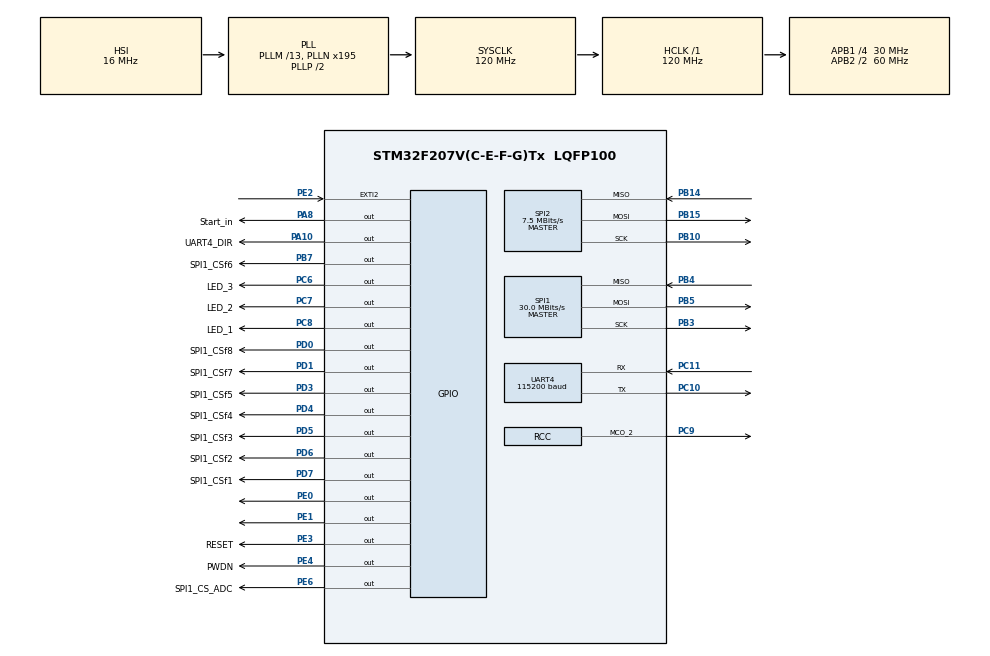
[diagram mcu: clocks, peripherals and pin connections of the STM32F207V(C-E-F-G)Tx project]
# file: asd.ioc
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Dma.Request0=SPI2_RX
Dma.Request1=SPI2_TX
Dma.Request2=SPI1_RX
Dma.Request3=SPI1_TX
Dma.SPI1_RX.2.Direction=DMA_PERIPH_TO_MEMORY
Dma.SPI1_RX.2.FIFOMode=DMA_FIFOMODE_DISABLE
Dma.SPI1_RX.2.Instance=DMA2_Stream0
Dma.SPI1_RX.2.MemDataAlignment=DMA_MDATAALIGN_BYTE
Dma.SPI1_RX.2.MemInc=DMA_MINC_ENABLE
Dma.SPI1_RX.2.Mode=DMA_NORMAL
Dma.SPI1_RX.2.PeriphDataAlignment=DMA_PDATAALIGN_BYTE
Dma.SPI1_RX.2.PeriphInc=DMA_PINC_DISABLE
Dma.SPI1_RX.2.Priority=DMA_PRIORITY_HIGH
Dma.SPI1_TX.3.Direction=DMA_MEMORY_TO_PERIPH
Dma.SPI1_TX.3.FIFOMode=DMA_FIFOMODE_DISABLE
Dma.SPI1_TX.3.Instance=DMA2_Stream3
Dma.SPI1_TX.3.MemDataAlignment=DMA_MDATAALIGN_BYTE
Dma.SPI1_TX.3.MemInc=DMA_MINC_ENABLE
Dma.SPI1_TX.3.Mode=DMA_NORMAL
Dma.SPI1_TX.3.PeriphDataAlignment=DMA_PDATAALIGN_BYTE
Dma.SPI1_TX.3.PeriphInc=DMA_PINC_DISABLE
Dma.SPI1_TX.3.Priority=DMA_PRIORITY_HIGH
Dma.SPI2_RX.0.Direction=DMA_PERIPH_TO_MEMORY
Dma.SPI2_RX.0.FIFOMode=DMA_FIFOMODE_DISABLE
Dma.SPI2_RX.0.Instance=DMA1_Stream3
Dma.SPI2_RX.0.MemDataAlignment=DMA_MDATAALIGN_BYTE
Dma.SPI2_RX.0.MemInc=DMA_MINC_ENABLE
Dma.SPI2_RX.0.Mode=DMA_NORMAL
Dma.SPI2_RX.0.PeriphDataAlignment=DMA_PDATAALIGN_BYTE
Dma.SPI2_RX.0.PeriphInc=DMA_PINC_DISABLE
Dma.SPI2_RX.0.Priority=DMA_PRIORITY_LOW
Dma.SPI2_TX.1.Direction=DMA_MEMORY_TO_PERIPH
Dma.SPI2_TX.1.FIFOMode=DMA_FIFOMODE_DISABLE
Dma.SPI2_TX.1.Instance=DMA1_Stream4
Dma.SPI2_TX.1.MemDataAlignment=DMA_MDATAALIGN_BYTE
Dma.SPI2_TX.1.MemInc=DMA_MINC_ENABLE
Dma.SPI2_TX.1.Mode=DMA_NORMAL
Dma.SPI2_TX.1.PeriphDataAlignment=DMA_PDATAALIGN_BYTE
Dma.SPI2_TX.1.PeriphInc=DMA_PINC_DISABLE
Dma.SPI2_TX.1.Priority=DMA_PRIORITY_LOW
Mcu.Family=STM32F2
Mcu.Name=STM32F207V(C-E-F-G)Tx
Mcu.Package=LQFP100
NVIC.DMA1_Stream3_IRQn=true\:0\:0\:false\:false\:true\:false\:true\:true
NVIC.DMA1_Stream4_IRQn=true\:0\:0\:false\:false\:true\:false\:true\:true
NVIC.DMA2_Stream0_IRQn=true\:0\:0\:false\:false\:true\:false\:true\:true
NVIC.DMA2_Stream3_IRQn=true\:0\:0\:false\:false\:true\:false\:true\:true
NVIC.EXTI2_IRQn=true\:0\:0\:false\:true\:true\:1\:true\:true\:true
NVIC.PriorityGroup=NVIC_PRIORITYGROUP_4
NVIC.UART4_IRQn=true\:0\:0\:false\:false\:true\:true\:true\:true
PA10.GPIO_Label=UART4_DIR
PA10.Signal=GPIO_Output
PA8.GPIO_Label=Start_in
PA8.Signal=GPIO_Output
PB10.Mode=Full_Duplex_Master
PB10.Signal=SPI2_SCK
PB14.Mode=Full_Duplex_Master
PB14.Signal=SPI2_MISO
PB15.Mode=Full_Duplex_Master
PB15.Signal=SPI2_MOSI
PB3.Mode=Full_Duplex_Master
PB3.Signal=SPI1_SCK
PB4.Mode=Full_Duplex_Master
PB4.Signal=SPI1_MISO
PB5.Mode=Full_Duplex_Master
PB5.Signal=SPI1_MOSI
PB7.GPIO_Label=SPI1_CSf6
PB7.Signal=GPIO_Output
PC10.Mode=Asynchronous
PC10.Signal=UART4_TX
PC11.Mode=Asynchronous
PC11.Signal=UART4_RX
PC6.GPIO_Label=LED_3
PC6.Signal=GPIO_Output
PC7.GPIO_Label=LED_2
PC7.Signal=GPIO_Output
PC8.GPIO_Label=LED_1
PC8.Signal=GPIO_Output
PC9.GPIO_Speed=GPIO_SPEED_FREQ_VERY_HIGH
PC9.Mode=Clock-out-2
PC9.Signal=RCC_MCO_2
PD0.GPIO_Label=SPI1_CSf8
PD0.Signal=GPIO_Output
PD1.GPIO_Label=SPI1_CSf7
PD1.Signal=GPIO_Output
PD3.GPIO_Label=SPI1_CSf5
PD3.Signal=GPIO_Output
PD4.GPIO_Label=SPI1_CSf4
PD4.Signal=GPIO_Output
PD5.GPIO_Label=SPI1_CSf3
PD5.Signal=GPIO_Output
PD6.GPIO_Label=SPI1_CSf2
PD6.Signal=GPIO_Output
PD7.GPIO_Label=SPI1_CSf1
PD7.PinState=GPIO_PIN_SET
PD7.Signal=GPIO_Output
PE0.PinState=GPIO_PIN_SET
PE0.Signal=GPIO_Output
PE1.PinState=GPIO_PIN_SET
PE1.Signal=GPIO_Output
PE2.GPIO_ModeDefaultEXTI=GPIO_MODE_IT_FALLING
PE2.Signal=GPXTI2
PE3.GPIO_Label=RESET
PE3.PinState=GPIO_PIN_SET
PE3.Signal=GPIO_Output
PE4.GPIO_Label=PWDN
PE4.PinState=GPIO_PIN_SET
PE4.Signal=GPIO_Output
PE6.GPIO_Label=SPI1_CS_ADC
PE6.PinState=GPIO_PIN_RESET
PE6.Signal=GPIO_Output
PH0-OSC_IN.Mode=HSE-External-Oscillator
PH0-OSC_IN.Signal=RCC_OSC_IN
PH1-OSC_OUT.Mode=HSE-External-Oscillator
PH1-OSC_OUT.Signal=RCC_OSC_OUT
ProjectManager.HeapSize=0x200
ProjectManager.StackSize=0x400
ProjectManager.TargetToolchain=EWARM V8.32
RCC.48MHZClocksFreq_Value=60000000
RCC.AHBFreq_Value=120000000
RCC.APB1CLKDivider=RCC_HCLK_DIV4
RCC.APB1Freq_Value=30000000
RCC.APB1TimFreq_Value=60000000
RCC.APB2CLKDivider=RCC_HCLK_DIV2
RCC.APB2Freq_Value=60000000
RCC.APB2TimFreq_Value=120000000
RCC.CortexFreq_Value=120000000
RCC.HCLKFreq_Value=120000000
RCC.HSE_VALUE=8000000
RCC.HSI_VALUE=16000000
RCC.LSE_VALUE=32768
RCC.PLLM=13
RCC.PLLN=195
RCC.RCC_MCODiv2=RCC_MCODIV_5
RCC.SYSCLKFreq_VALUE=120000000
RCC.SYSCLKSource=RCC_SYSCLKSOURCE_PLLCLK
RCC.VCOOutputFreq_Value=240000000
SPI1.CalculateBaudRate=30.0 MBits/s
SPI1.Direction=SPI_DIRECTION_2LINES
SPI1.Mode=SPI_MODE_MASTER
SPI1.VirtualType=VM_MASTER
SPI2.BaudRatePrescaler=SPI_BAUDRATEPRESCALER_4
SPI2.CalculateBaudRate=7.5 MBits/s
SPI2.Direction=SPI_DIRECTION_2LINES
SPI2.Mode=SPI_MODE_MASTER
SPI2.VirtualType=VM_MASTER
UART4.BaudRate=115200
UART4.VirtualMode=Asynchronous
board=custom

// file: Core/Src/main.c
/* USER CODE BEGIN Header */
/**
  ******************************************************************************
  * @file           : main.c
  * @brief          : Main program body
  ******************************************************************************
  * @attention
  *
  * Copyright (c) 2025 STMicroelectronics.
  * All rights reserved.
  *
  * This software is licensed under terms that can be found in the LICENSE file
  * in the root directory of this software component.
  * If no LICENSE file comes with this software, it is provided AS-IS.
  *
  ******************************************************************************
  */
/* USER CODE END Header */
#include "main.h"

/* USER CODE BEGIN Includes */
#include "ADC.h"
#include "ModbusRTU_Slave.h"
#include "flash.h"
/* USER CODE END Includes */

SPI_HandleTypeDef hspi1;
SPI_HandleTypeDef hspi2;
DMA_HandleTypeDef hdma_spi1_rx;
DMA_HandleTypeDef hdma_spi1_tx;
DMA_HandleTypeDef hdma_spi2_rx;
DMA_HandleTypeDef hdma_spi2_tx;

UART_HandleTypeDef huart4;

void SystemClock_Config(void);
static void MX_GPIO_Init(void);
static void MX_DMA_Init(void);
static void MX_UART4_Init(void);
static void MX_SPI2_Init(void);
static void MX_SPI1_Init(void);
static void MX_NVIC_Init(void);

/* USER CODE BEGIN 0 */
// ��� ���(

    extern uint8_t Code_ADC[256];
    extern uint8_t ADC_rx_data[19];

    uint32_t schet = 0;
    uint8_t experement = 0;
    uint8_t chip = 0;
    float ch1_voltage = 0;
    uint8_t adc_data_ready = 0;
    uint32_t SPI1_CR1 = 0;
    int8_t ADC_data[256] = {0};
    int8_t ADC_data2[256] = {0};
    uint32_t cikl = 0;

// ��� ���)
/* USER CODE END 0 */

int main(void)
{

  /* MCU Configuration--------------------------------------------------------*/

  /* Reset of all peripherals, Initializes the Flash interface and the Systick. */
  HAL_Init();

  /* Configure the system clock */
  SystemClock_Config();

  /* Initialize all configured peripherals */
  MX_GPIO_Init();
  MX_DMA_Init();
  MX_UART4_Init();
  MX_SPI2_Init();
  MX_SPI1_Init();

  /* Initialize interrupts */
  MX_NVIC_Init();
  /* USER CODE BEGIN 2 */

  ADS131E0_RESET();
  memset(Code_ADC, 0, sizeof(Code_ADC));
  schet = 0;

  // Инициализация Modbus
    DataCounter = 0;
    RxInterruptFlag = RESET;
    uartTimeCounter = 0;
    uartPacketComplatedFlag = RESET;
    HAL_UART_Receive_IT(&huart4, &uartRxData, 1);  // Включаем прерывание по приему

  /* USER CODE END 2 */

  /* Infinite loop */
  /* USER CODE BEGIN WHILE */
  while (1)
  {
    SPI1_CR1 = SPI1 -> CR1;

    if (experement == 1){
        ADC_START_ON
        experement = 0;
    }
        if (experement == 2){
        memset(ADC_data, 0, sizeof(ADC_data));
        cikl = 0;
        experement = 0;
    }

    uartDataHandler();  // Обработка полученных данных
    /* USER CODE END WHILE */

  }
}

void SystemClock_Config(void)
{
  RCC_OscInitTypeDef RCC_OscInitStruct = {0};
  RCC_ClkInitTypeDef RCC_ClkInitStruct = {0};

  /** Initializes the RCC Oscillators according to the specified parameters
  * in the RCC_OscInitTypeDef structure.
  */
  RCC_OscInitStruct.OscillatorType = RCC_OSCILLATORTYPE_HSI;
  RCC_OscInitStruct.HSIState = RCC_HSI_ON;
  RCC_OscInitStruct.HSICalibrationValue = RCC_HSICALIBRATION_DEFAULT;
  RCC_OscInitStruct.PLL.PLLState = RCC_PLL_ON;
  RCC_OscInitStruct.PLL.PLLSource = RCC_PLLSOURCE_HSI;
  RCC_OscInitStruct.PLL.PLLM = 13;
  RCC_OscInitStruct.PLL.PLLN = 195;
  RCC_OscInitStruct.PLL.PLLP = RCC_PLLP_DIV2;
  RCC_OscInitStruct.PLL.PLLQ = 4;
  if (HAL_RCC_OscConfig(&RCC_OscInitStruct) != HAL_OK)
  {
    Error_Handler();
  }

  /** Initializes the CPU, AHB and APB buses clocks
  */
  RCC_ClkInitStruct.ClockType = RCC_CLOCKTYPE_HCLK|RCC_CLOCKTYPE_SYSCLK
                              |RCC_CLOCKTYPE_PCLK1|RCC_CLOCKTYPE_PCLK2;
  RCC_ClkInitStruct.SYSCLKSource = RCC_SYSCLKSOURCE_PLLCLK;
  RCC_ClkInitStruct.AHBCLKDivider = RCC_SYSCLK_DIV1;
  RCC_ClkInitStruct.APB1CLKDivider = RCC_HCLK_DIV4;
  RCC_ClkInitStruct.APB2CLKDivider = RCC_HCLK_DIV2;

  if (HAL_RCC_ClockConfig(&RCC_ClkInitStruct, FLASH_LATENCY_3) != HAL_OK)
  {
    Error_Handler();
  }
  HAL_RCC_MCOConfig(RCC_MCO2, RCC_MCO2SOURCE_SYSCLK, RCC_MCODIV_5);
}

/**
  * @brief NVIC Configuration.
  * @retval None
  */
static void MX_NVIC_Init(void)
{
  /* EXTI2_IRQn interrupt configuration */
  HAL_NVIC_SetPriority(EXTI2_IRQn, 0, 0);
  HAL_NVIC_EnableIRQ(EXTI2_IRQn);
}

static void MX_SPI1_Init(void)
{

  /* SPI1 parameter configuration*/
  hspi1.Instance = SPI1;
  hspi1.Init.Mode = SPI_MODE_MASTER;
  hspi1.Init.Direction = SPI_DIRECTION_2LINES;
  hspi1.Init.DataSize = SPI_DATASIZE_8BIT;
  hspi1.Init.CLKPolarity = SPI_POLARITY_LOW;
  hspi1.Init.CLKPhase = SPI_PHASE_2EDGE;
  hspi1.Init.NSS = SPI_NSS_SOFT;
  hspi1.Init.BaudRatePrescaler = SPI_BAUDRATEPRESCALER_8;
  hspi1.Init.FirstBit = SPI_FIRSTBIT_MSB;
  hspi1.Init.TIMode = SPI_TIMODE_DISABLE;
  hspi1.Init.CRCCalculation = SPI_CRCCALCULATION_DISABLE;
  hspi1.Init.CRCPolynomial = 10;
  if (HAL_SPI_Init(&hspi1) != HAL_OK)
  {
    Error_Handler();
  }

}

static void MX_SPI2_Init(void)
{

  /* SPI2 parameter configuration*/
  hspi2.Instance = SPI2;
  hspi2.Init.Mode = SPI_MODE_MASTER;
  hspi2.Init.Direction = SPI_DIRECTION_2LINES;
  hspi2.Init.DataSize = SPI_DATASIZE_8BIT;
  hspi2.Init.CLKPolarity = SPI_POLARITY_LOW;
  hspi2.Init.CLKPhase = SPI_PHASE_1EDGE;
  hspi2.Init.NSS = SPI_NSS_SOFT;
  hspi2.Init.BaudRatePrescaler = SPI_BAUDRATEPRESCALER_4;
  hspi2.Init.FirstBit = SPI_FIRSTBIT_MSB;
  hspi2.Init.TIMode = SPI_TIMODE_DISABLE;
  hspi2.Init.CRCCalculation = SPI_CRCCALCULATION_DISABLE;
  hspi2.Init.CRCPolynomial = 10;
  if (HAL_SPI_Init(&hspi2) != HAL_OK)
  {
    Error_Handler();
  }

}

static void MX_UART4_Init(void)
{

  huart4.Instance = UART4;
  huart4.Init.BaudRate = 115200;
  huart4.Init.WordLength = UART_WORDLENGTH_8B;
  huart4.Init.StopBits = UART_STOPBITS_1;
  huart4.Init.Parity = UART_PARITY_NONE;
  huart4.Init.Mode = UART_MODE_TX_RX;
  huart4.Init.HwFlowCtl = UART_HWCONTROL_NONE;
  huart4.Init.OverSampling = UART_OVERSAMPLING_16;
  if (HAL_UART_Init(&huart4) != HAL_OK)
  {
    Error_Handler();
  }

}

static void MX_DMA_Init(void)
{

  /* DMA controller clock enable */
  __HAL_RCC_DMA1_CLK_ENABLE();
  __HAL_RCC_DMA2_CLK_ENABLE();

  /* DMA interrupt init */
  /* DMA1_Stream3_IRQn interrupt configuration */
  HAL_NVIC_SetPriority(DMA1_Stream3_IRQn, 0, 0);
  HAL_NVIC_EnableIRQ(DMA1_Stream3_IRQn);
  /* DMA1_Stream4_IRQn interrupt configuration */
  HAL_NVIC_SetPriority(DMA1_Stream4_IRQn, 0, 0);
  HAL_NVIC_EnableIRQ(DMA1_Stream4_IRQn);
  /* DMA2_Stream0_IRQn interrupt configuration */
  HAL_NVIC_SetPriority(DMA2_Stream0_IRQn, 0, 0);
  HAL_NVIC_EnableIRQ(DMA2_Stream0_IRQn);
  /* DMA2_Stream3_IRQn interrupt configuration */
  HAL_NVIC_SetPriority(DMA2_Stream3_IRQn, 0, 0);
  HAL_NVIC_EnableIRQ(DMA2_Stream3_IRQn);

}

static void MX_GPIO_Init(void)
{
  GPIO_InitTypeDef GPIO_InitStruct = {0};

  /* GPIO Ports Clock Enable */
  __HAL_RCC_GPIOE_CLK_ENABLE();
  __HAL_RCC_GPIOH_CLK_ENABLE();
  __HAL_RCC_GPIOB_CLK_ENABLE();
  __HAL_RCC_GPIOC_CLK_ENABLE();
  __HAL_RCC_GPIOA_CLK_ENABLE();
  __HAL_RCC_GPIOD_CLK_ENABLE();

  /*Configure GPIO pin Output Level */
  HAL_GPIO_WritePin(GPIOE, RESET_Pin|PWDN_Pin|GPIO_PIN_0|GPIO_PIN_1, GPIO_PIN_SET);

  /*Configure GPIO pin Output Level */
  HAL_GPIO_WritePin(SPI1_CS_ADC_GPIO_Port, SPI1_CS_ADC_Pin, GPIO_PIN_RESET);

  /*Configure GPIO pin Output Level */
  HAL_GPIO_WritePin(GPIOC, LED_3_Pin|LED_2_Pin|LED_1_Pin, GPIO_PIN_RESET);

  /*Configure GPIO pin Output Level */
  HAL_GPIO_WritePin(GPIOA, Start_in_Pin|UART4_DIR_Pin, GPIO_PIN_RESET);

  /*Configure GPIO pin Output Level */
  HAL_GPIO_WritePin(GPIOD, SPI1_CSf8_Pin|SPI1_CSf7_Pin|SPI1_CSf5_Pin|SPI1_CSf4_Pin
                          |SPI1_CSf3_Pin|SPI1_CSf2_Pin, GPIO_PIN_RESET);

  /*Configure GPIO pin Output Level */
  HAL_GPIO_WritePin(SPI1_CSf1_GPIO_Port, SPI1_CSf1_Pin, GPIO_PIN_SET);

  /*Configure GPIO pin Output Level */
  HAL_GPIO_WritePin(SPI1_CSf6_GPIO_Port, SPI1_CSf6_Pin, GPIO_PIN_RESET);

  /*Configure GPIO pin : PE2 */
  GPIO_InitStruct.Pin = GPIO_PIN_2;
  GPIO_InitStruct.Mode = GPIO_MODE_IT_FALLING;
  GPIO_InitStruct.Pull = GPIO_NOPULL;
  HAL_GPIO_Init(GPIOE, &GPIO_InitStruct);

  /*Configure GPIO pins : RESET_Pin PWDN_Pin SPI1_CS_ADC_Pin PE0
                           PE1 */
  GPIO_InitStruct.Pin = RESET_Pin|PWDN_Pin|SPI1_CS_ADC_Pin|GPIO_PIN_0
                          |GPIO_PIN_1;
  GPIO_InitStruct.Mode = GPIO_MODE_OUTPUT_PP;
  GPIO_InitStruct.Pull = GPIO_NOPULL;
  GPIO_InitStruct.Speed = GPIO_SPEED_FREQ_LOW;
  HAL_GPIO_Init(GPIOE, &GPIO_InitStruct);

  /*Configure GPIO pins : LED_3_Pin LED_2_Pin LED_1_Pin */
  GPIO_InitStruct.Pin = LED_3_Pin|LED_2_Pin|LED_1_Pin;
  GPIO_InitStruct.Mode = GPIO_MODE_OUTPUT_PP;
  GPIO_InitStruct.Pull = GPIO_NOPULL;
  GPIO_InitStruct.Speed = GPIO_SPEED_FREQ_LOW;
  HAL_GPIO_Init(GPIOC, &GPIO_InitStruct);

  /*Configure GPIO pin : PC9 */
  GPIO_InitStruct.Pin = GPIO_PIN_9;
  GPIO_InitStruct.Mode = GPIO_MODE_AF_PP;
  GPIO_InitStruct.Pull = GPIO_NOPULL;
  GPIO_InitStruct.Speed = GPIO_SPEED_FREQ_VERY_HIGH;
  GPIO_InitStruct.Alternate = GPIO_AF0_MCO;
  HAL_GPIO_Init(GPIOC, &GPIO_InitStruct);

  /*Configure GPIO pins : Start_in_Pin UART4_DIR_Pin */
  GPIO_InitStruct.Pin = Start_in_Pin|UART4_DIR_Pin;
  GPIO_InitStruct.Mode = GPIO_MODE_OUTPUT_PP;
  GPIO_InitStruct.Pull = GPIO_NOPULL;
  GPIO_InitStruct.Speed = GPIO_SPEED_FREQ_LOW;
  HAL_GPIO_Init(GPIOA, &GPIO_InitStruct);

  /*Configure GPIO pins : SPI1_CSf8_Pin SPI1_CSf7_Pin SPI1_CSf5_Pin SPI1_CSf4_Pin
                           SPI1_CSf3_Pin SPI1_CSf2_Pin SPI1_CSf1_Pin */
  GPIO_InitStruct.Pin = SPI1_CSf8_Pin|SPI1_CSf7_Pin|SPI1_CSf5_Pin|SPI1_CSf4_Pin
                          |SPI1_CSf3_Pin|SPI1_CSf2_Pin|SPI1_CSf1_Pin;
  GPIO_InitStruct.Mode = GPIO_MODE_OUTPUT_PP;
  GPIO_InitStruct.Pull = GPIO_NOPULL;
  GPIO_InitStruct.Speed = GPIO_SPEED_FREQ_LOW;
  HAL_GPIO_Init(GPIOD, &GPIO_InitStruct);

  /*Configure GPIO pin : SPI1_CSf6_Pin */
  GPIO_InitStruct.Pin = SPI1_CSf6_Pin;
  GPIO_InitStruct.Mode = GPIO_MODE_OUTPUT_PP;
  GPIO_InitStruct.Pull = GPIO_NOPULL;
  GPIO_InitStruct.Speed = GPIO_SPEED_FREQ_LOW;
  HAL_GPIO_Init(SPI1_CSf6_GPIO_Port, &GPIO_InitStruct);

}

/* USER CODE BEGIN 4 */
// ��� ���(

 void HAL_SPI_TxCpltCallback(SPI_HandleTypeDef *hspi)
  {
      if (hspi == &hspi2)
      {
          FLASH_CS_HIGH(CS_num);
      }
  }

  void HAL_SPI_RxCpltCallback(SPI_HandleTypeDef *hspi)
  {
      if (hspi == &hspi2)
      {
         FLASH_CS_HIGH(CS_num);
      }
  }

void HAL_SPI_TxRxCpltCallback(SPI_HandleTypeDef *hspi)
{
      delay(5);
      ADC_CS_HIGH;

      ModbusRegister[0] = (int16_t)(((uint16_t)ADC_rx_data[3]  << 8) | ADC_rx_data[4]);   // CH1
      ModbusRegister[1] = (int16_t)(((uint16_t)ADC_rx_data[5]  << 8) | ADC_rx_data[6]);   // CH2
      ModbusRegister[2] = (int16_t)(((uint16_t)ADC_rx_data[7]  << 8) | ADC_rx_data[8]);   // CH3
      ModbusRegister[3] = (int16_t)(((uint16_t)ADC_rx_data[9]  << 8) | ADC_rx_data[10]);  // CH4
      ModbusRegister[4] = (int16_t)(((uint16_t)ADC_rx_data[11] << 8) | ADC_rx_data[12]);  // CH5
      ModbusRegister[5] = (int16_t)(((uint16_t)ADC_rx_data[13] << 8) | ADC_rx_data[14]);  // CH6
      ModbusRegister[6] = (int16_t)(((uint16_t)ADC_rx_data[15] << 8) | ADC_rx_data[16]);  // CH7
      ModbusRegister[7] = (int16_t)(((uint16_t)ADC_rx_data[17] << 8) | ADC_rx_data[18]);  // CH8

      if (cikl < 16) {
      memcpy(&ADC_data[cikl * 16],  &ADC_rx_data[3], 16);
      cikl++;
      }
      if (cikl == 15){
          memcpy(&ADC_data2[0], &ADC_data[0], 256);
          Memory(&ADC_data2[0]);
          cikl = 0;
      }
}

void HAL_UART_TxCpltCallback(UART_HandleTypeDef *huart)
{
    if(huart->Instance == UART4)
    {
        // Небольшая задержка
        volatile uint32_t delay = 10;
        while(delay--);

        // Переключаемся в режим приема
        HAL_GPIO_WritePin(GPIOA, GPIO_PIN_10, GPIO_PIN_RESET);
    }
}

void HAL_GPIO_EXTI_Callback(uint16_t GPIO_Pin)
{
 delay(5);
 ADS131E0_DataRead();
}

// ��� ���)
/* USER CODE END 4 */

void Error_Handler(void)
{
  __disable_irq();
  while (1)
  {
  }
}
